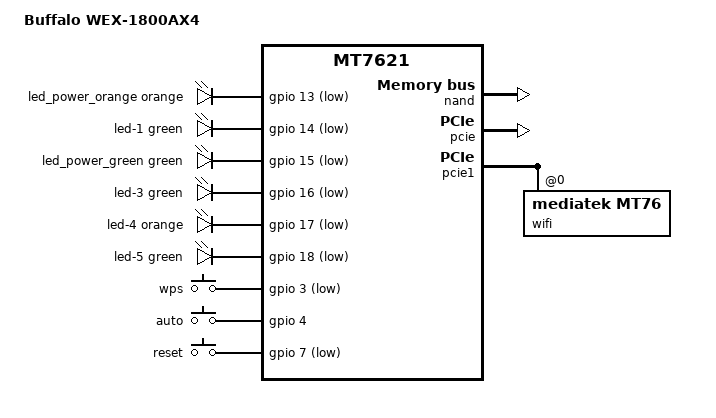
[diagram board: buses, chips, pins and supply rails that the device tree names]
// SPDX-License-Identifier: GPL-2.0-or-later OR MIT

#include "mt7621.dtsi"

#include <dt-bindings/gpio/gpio.h>
#include <dt-bindings/input/input.h>
#include <dt-bindings/leds/common.h>

/ {
	compatible = "buffalo,wex-1800ax4", "mediatek,mt7621-soc";
	model = "Buffalo WEX-1800AX4";

	aliases {
		label-mac-device = &gmac0;
		led-boot = &led_power_green;
		led-failsafe = &led_power_orange;
		led-running = &led_power_green;
		led-upgrade = &led_power_green;
	};

	chosen {
		bootargs = "console=ttyS0,115200n8 ubi.block=0,rootfs root=/dev/ubiblock0_0";
	};

	leds {
		compatible = "gpio-leds";

		led_power_orange: led-0 {
			gpios = <&gpio 13 GPIO_ACTIVE_LOW>;
			color = <LED_COLOR_ID_ORANGE>;
			function = LED_FUNCTION_POWER;
		};

		/* Wi-Fi upstream (AP-Extender) */
		led-1 {
			gpios = <&gpio 14 GPIO_ACTIVE_LOW>;
			color = <LED_COLOR_ID_GREEN>;
			function = LED_FUNCTION_WAN;
		};

		led_power_green: led-2 {
			gpios = <&gpio 15 GPIO_ACTIVE_LOW>;
			color = <LED_COLOR_ID_GREEN>;
			function = LED_FUNCTION_POWER;
		};

		led-3 {
			gpios = <&gpio 16 GPIO_ACTIVE_LOW>;
			color = <LED_COLOR_ID_GREEN>;
			function = LED_FUNCTION_WPS;
		};

		/* Wi-Fi upstream (AP-Extender) */
		led-4 {
			gpios = <&gpio 17 GPIO_ACTIVE_LOW>;
			color = <LED_COLOR_ID_ORANGE>;
			function = LED_FUNCTION_WAN;
		};

		/* Wi-Fi downstream (Extender-Client) */
		led-5 {
			gpios = <&gpio 18 GPIO_ACTIVE_LOW>;
			color = <LED_COLOR_ID_GREEN>;
			function = LED_FUNCTION_LAN;
		};
	};

	keys {
		compatible = "gpio-keys";

		button-wps {
			label = "wps";
			gpios = <&gpio 3 GPIO_ACTIVE_LOW>;
			linux,code = <KEY_WPS_BUTTON>;
		};

		/*
		 * Wi-Fi bands between AP and extender
		 * - AUTO (GPIO:high): 2.4GHz or 5GHz
		 * - 5GHz (GPIO:low) : only 5GHz
		 */
		switch-auto {
			label = "auto";
			gpios = <&gpio 4 GPIO_ACTIVE_HIGH>;
			linux,code = <BTN_0>;
			linux,input-type = <EV_SW>;
		};

		button-reset {
			label = "reset";
			gpios = <&gpio 7 GPIO_ACTIVE_LOW>;
			linux,code = <KEY_RESTART>;
		};
	};
};

&gmac0 {
	nvmem-cells = <&macaddr_bdata_mac 0>;
	nvmem-cell-names = "mac-address";
};

&switch0 {
	ports {
		port@0 {
			status = "okay";
			label = "lan";
		};
	};
};

&nand {
	status = "okay";
	pinctrl-0 = <&nand_pins>;
	pinctrl-names = "default";

	partitions {
		compatible = "fixed-partitions";
		#address-cells = <1>;
		#size-cells = <1>;

		partition@0 {
			label = "u-boot";
			reg = <0x0 0x80000>;
			read-only;
		};

		partition@80000 {
			label = "u-boot-env";
			reg = <0x80000 0x80000>;
			read-only;
		};

		partition@100000 {
			label = "factory";
			reg = <0x100000 0x80000>;
			read-only;

			nvmem-layout {
				compatible = "fixed-layout";
				#address-cells = <1>;
				#size-cells = <1>;

				eeprom_factory_0: eeprom@0 {
					reg = <0x0 0xe00>;
				};

				precal_factory_e10: precal@e10 {
					reg = <0xe10 0x19c10>;
				};
			};
		};

		/* stock: "Kernel" */
		partition@180000 {
			label = "kernel";
			reg = <0x180000 0x1800000>;
		};

		partition@1980000 {
			label = "Kernel2";
			reg = <0x1980000 0x1800000>;
		};

		partition@3180000 {
			label = "glbcfg";
			reg = <0x3180000 0x200000>;
			read-only;
		};

		partition@3380000 {
			label = "board_data";
			reg = <0x3380000 0x200000>;
			read-only;

			nvmem-layout {
				compatible = "ascii-eq-delim-env";

				macaddr_bdata_mac: mac {
					compatible = "mac-base";
					#nvmem-cell-cells = <1>;
				};
			};
		};

		/* stock: "User_data" */
		partition@3580000 {
			label = "ubi";
			reg = <0x3580000 0x1800000>;
		};

		partition@4d80000 {
			label = "glbcfg2";
			reg = <0x4d80000 0x200000>;
			read-only;
		};

		partition@4f80000 {
			label = "board_data2";
			reg = <0x4f80000 0x200000>;
			read-only;
		};
	};
};

/*
 * pcie0: MT7915D HIF (14c3,7916)
 * pcie1: MT7915D     (14c3,7915)
 */
&pcie {
	status = "okay";
};

&pcie1 {
	wifi@0,0 {
		compatible = "mediatek,mt76";
		reg = <0x0000 0 0 0 0>;
		nvmem-cells = <&eeprom_factory_0>, <&precal_factory_e10>;
		nvmem-cell-names = "eeprom", "precal";
		mediatek,disable-radar-background;
		#address-cells = <1>;
		#size-cells = <0>;

		band@0 {
			reg = <0>;
			nvmem-cells = <&macaddr_bdata_mac 1>;
			nvmem-cell-names = "mac-address";
		};

		band@1 {
			reg = <1>;
			nvmem-cells = <&macaddr_bdata_mac 8>;
			nvmem-cell-names = "mac-address";
		};
	};
};

&pcie2 {
	status = "disabled";
};

&state_default {
	gpio {
		groups = "i2c", "jtag", "uart3", "wdt";
		function = "gpio";
	};
};

&usb_phy {
	status = "disabled";
};

&xhci {
	status = "disabled";
};
